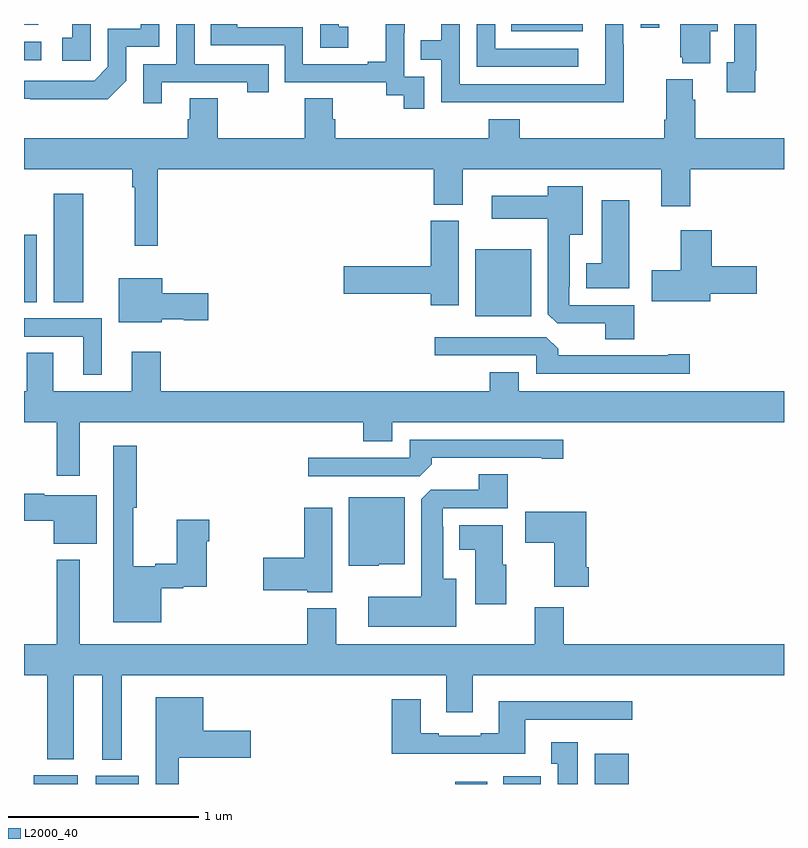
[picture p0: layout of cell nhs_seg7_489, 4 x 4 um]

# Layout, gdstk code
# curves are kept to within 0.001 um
import gdstk
lib = gdstk.Library(unit=1e-6, precision=1e-09)
def R(c, l, rs):  # rectangles x0, y0, x1, y1
    for r in rs: c.add(gdstk.rectangle(r[:2], r[2:], *l))
def P(c, l, *ps):  # polygons
    for p in ps: c.add(gdstk.Polygon(p, *l))
L2000_40 = (2000, 40)

nhs_seg7_489 = lib.new_cell('nhs_seg7_489')
R(nhs_seg7_489, L2000_40, [(149.051,1044,149.284,1044.046), (149.378,1044,149.605,1044.043), (151.271,1044,151.438,1044.013), (151.523,1044,151.72,1044.04), (152.003,1044,152.182,1044.16), (151.376,1046.462,151.669,1046.815), (149,1046.536,149.068,1046.89), (149.156,1046.536,149.311,1047.106), (149,1047.81,149.092,1047.906), (151.564,1047.962,151.942,1048), (152.247,1047.981,152.343,1048), (149,1047.995,149.074,1048)])
P(nhs_seg7_489, L2000_40, [(152.611,1047.962),(152.65,1047.962),(152.65,1048),(152.453,1048),(152.453,1047.825),(152.465,1047.825),(152.465,1047.794),(152.611,1047.794)],
  [(149.725,1047.693),(150.176,1047.693),(150.176,1047.642),(150.287,1047.642),(150.287,1047.789),(149.898,1047.789),(149.898,1048),(149.802,1048),(149.802,1047.789),(149.628,1047.789),(149.628,1047.582),(149.725,1047.582)],
  [(150.706,1047.985),(150.657,1047.985),(150.657,1048),(150.558,1048),(150.558,1047.876),(150.706,1047.876)],
  [(151.918,1047.87),(151.479,1047.87),(151.479,1048),(151.383,1048),(151.383,1047.774),(151.918,1047.774)],
  [(152.848,1047.754),(152.855,1047.754),(152.855,1048),(152.739,1048),(152.739,1047.798),(152.699,1047.798),(152.699,1047.642),(152.848,1047.642)],
  [(151.107,1047.723),(151.002,1047.723),(151.002,1047.953),(151.004,1047.953),(151.004,1048),(150.905,1048),(150.905,1047.802),(150.809,1047.802),(150.809,1047.789),(150.468,1047.789),(150.468,1047.984),(150.123,1047.984),(150.123,1048),(149.983,1048),(149.983,1047.888),(150.372,1047.888),(150.372,1047.693),(150.906,1047.693),(150.906,1047.625),(150.999,1047.625),(150.999,1047.555),(151.107,1047.555)],
  [(149.538,1047.702),(149.538,1047.879),(149.712,1047.879),(149.712,1048),(149.615,1048),(149.615,1047.975),(149.442,1047.975),(149.442,1047.774),(149.37,1047.702),(149,1047.702),(149,1047.606),(149.44,1047.605)],
  [(149.352,1048),(149.255,1048),(149.255,1047.927),(149.202,1047.927),(149.202,1047.807),(149.352,1047.807)],
  [(152.157,1047.893),(152.154,1047.893),(152.154,1048),(152.058,1048),(152.058,1047.684),(151.293,1047.684),(151.293,1048),(151.197,1048),(151.197,1047.914),(151.087,1047.914),(151.087,1047.813),(151.197,1047.813),(151.197,1047.588),(151.693,1047.588),(151.693,1047.587),(152.157,1047.587)],
  [(149.705,1047.236),(151.157,1047.236),(151.157,1047.049),(151.309,1047.049),(151.309,1047.236),(152.354,1047.236),(152.354,1047.042),(152.507,1047.042),(152.507,1047.236),(153,1047.236),(153,1047.4),(152.534,1047.4),(152.534,1047.602),(152.521,1047.602),(152.521,1047.709),(152.381,1047.709),(152.381,1047.496),(152.369,1047.496),(152.369,1047.4),(151.61,1047.4),(151.61,1047.499),(151.445,1047.499),(151.445,1047.4),(150.638,1047.4),(150.638,1047.498),(150.625,1047.498),(150.625,1047.608),(150.478,1047.608),(150.478,1047.4),(150.021,1047.4),(150.021,1047.608),(149.873,1047.608),(149.873,1047.498),(149.861,1047.498),(149.861,1047.4),(149,1047.4),(149,1047.236),(149.569,1047.236),(149.569,1047.14),(149.584,1047.14),(149.584,1046.832),(149.705,1046.832)],
  [(152.213,1046.52),(151.869,1046.52),(151.869,1046.617),(151.873,1046.617),(151.873,1046.891),(151.942,1046.891),(151.942,1047.145),(151.757,1047.145),(151.757,1047.097),(151.461,1047.097),(151.461,1046.975),(151.757,1046.975),(151.757,1046.473),(151.806,1046.424),(152.06,1046.424),(152.06,1046.341),(152.213,1046.341)],
  [(152.185,1047.073),(152.042,1047.073),(152.042,1046.74),(151.958,1046.74),(151.958,1046.609),(152.185,1046.609)],
  [(151.288,1046.964),(151.142,1046.964),(151.142,1046.726),(150.684,1046.726),(150.684,1046.579),(151.142,1046.579),(151.142,1046.52),(151.288,1046.52)],
  [(152.611,1046.579),(152.857,1046.579),(152.857,1046.726),(152.619,1046.726),(152.619,1046.914),(152.456,1046.914),(152.456,1046.703),(152.304,1046.703),(152.304,1046.54),(152.611,1046.54)],
  [(149.724,1046.447),(149.841,1046.447),(149.841,1046.44),(149.971,1046.44),(149.971,1046.582),(149.728,1046.582),(149.728,1046.662),(149.498,1046.662),(149.498,1046.429),(149.724,1046.429)],
  [(149.41,1046.451),(149,1046.451),(149,1046.355),(149.312,1046.355),(149.312,1046.154),(149.41,1046.154)],
  [(152.503,1046.261),(152.39,1046.261),(152.39,1046.256),(151.811,1046.256),(151.811,1046.29),(151.749,1046.352),(151.161,1046.352),(151.161,1046.256),(151.695,1046.256),(151.695,1046.16),(152.503,1046.16)],
  [(149.72,1046.275),(149.567,1046.275),(149.567,1046.068),(149.155,1046.068),(149.155,1046.27),(149.015,1046.27),(149.015,1046.068),(149,1046.068),(149,1045.904),(149.172,1045.904),(149.172,1045.623),(149.293,1045.623),(149.293,1045.904),(150.785,1045.904),(150.785,1045.805),(150.937,1045.805),(150.937,1045.904),(153,1045.904),(153,1046.068),(151.603,1046.068),(151.603,1046.167),(151.451,1046.167),(151.451,1046.068),(149.72,1046.068)],
  [(151.145,1045.682),(151.145,1045.716),(151.724,1045.716),(151.724,1045.711),(151.837,1045.711),(151.837,1045.812),(151.029,1045.812),(151.029,1045.716),(150.495,1045.716),(150.495,1045.62),(151.083,1045.62)],
  [(149.722,1045.03),(149.838,1045.03),(149.838,1045.037),(149.962,1045.037),(149.962,1045.277),(149.975,1045.277),(149.975,1045.39),(149.804,1045.39),(149.804,1045.16),(149.69,1045.16),(149.69,1045.147),(149.575,1045.147),(149.575,1045.455),(149.593,1045.455),(149.593,1045.78),(149.471,1045.78),(149.471,1044.851),(149.722,1044.851)],
  [(151.276,1045.081),(151.207,1045.081),(151.207,1045.355),(151.203,1045.355),(151.203,1045.452),(151.547,1045.452),(151.547,1045.631),(151.394,1045.631),(151.394,1045.548),(151.14,1045.548),(151.091,1045.499),(151.091,1044.985),(150.813,1044.985),(150.813,1044.827),(151.276,1044.827)],
  [(149.383,1045.519),(149.107,1045.519),(149.107,1045.527),(149,1045.527),(149,1045.385),(149.156,1045.385),(149.156,1045.265),(149.383,1045.265)],
  [(150.867,1045.157),(151.003,1045.157),(151.003,1045.51),(150.71,1045.51),(150.71,1045.148),(150.867,1045.148)],
  [(150.622,1045.453),(150.476,1045.453),(150.476,1045.19),(150.258,1045.19),(150.258,1045.019),(150.492,1045.019),(150.492,1045.01),(150.622,1045.01)],
  [(151.973,1045.141),(151.96,1045.141),(151.96,1045.432),(151.638,1045.432),(151.638,1045.27),(151.79,1045.27),(151.79,1045.037),(151.973,1045.037)],
  [(151.537,1045.155),(151.519,1045.155),(151.519,1045.363),(151.292,1045.363),(151.292,1045.232),(151.376,1045.232),(151.376,1044.945),(151.537,1044.945)],
  [(149.515,1044.572),(151.223,1044.572),(151.223,1044.378),(151.363,1044.378),(151.363,1044.572),(153,1044.572),(153,1044.736),(151.841,1044.736),(151.841,1044.93),(151.688,1044.93),(151.688,1044.736),(150.643,1044.736),(150.643,1044.925),(150.491,1044.925),(150.491,1044.736),(149.293,1044.736),(149.293,1045.18),(149.172,1045.18),(149.172,1044.736),(149,1044.736),(149,1044.572),(149.123,1044.572),(149.123,1044.131),(149.263,1044.131),(149.263,1044.572),(149.411,1044.572),(149.411,1044.128),(149.515,1044.128)],
  [(149.815,1044.137),(150.193,1044.137),(150.193,1044.279),(149.944,1044.279),(149.944,1044.457),(149.693,1044.457),(149.693,1044),(149.815,1044)],
  [(151.639,1044.339),(152.2,1044.339),(152.2,1044.436),(151.499,1044.436),(151.499,1044.268),(151.403,1044.268),(151.403,1044.255),(151.183,1044.255),(151.183,1044.268),(151.087,1044.268),(151.087,1044.445),(150.935,1044.445),(150.935,1044.158),(151.639,1044.158)],
  [(151.915,1044.22),(151.775,1044.22),(151.775,1044.107),(151.808,1044.107),(151.808,1044),(151.915,1044)])

lib.write_gds('nhs_seg7_489.gds')
